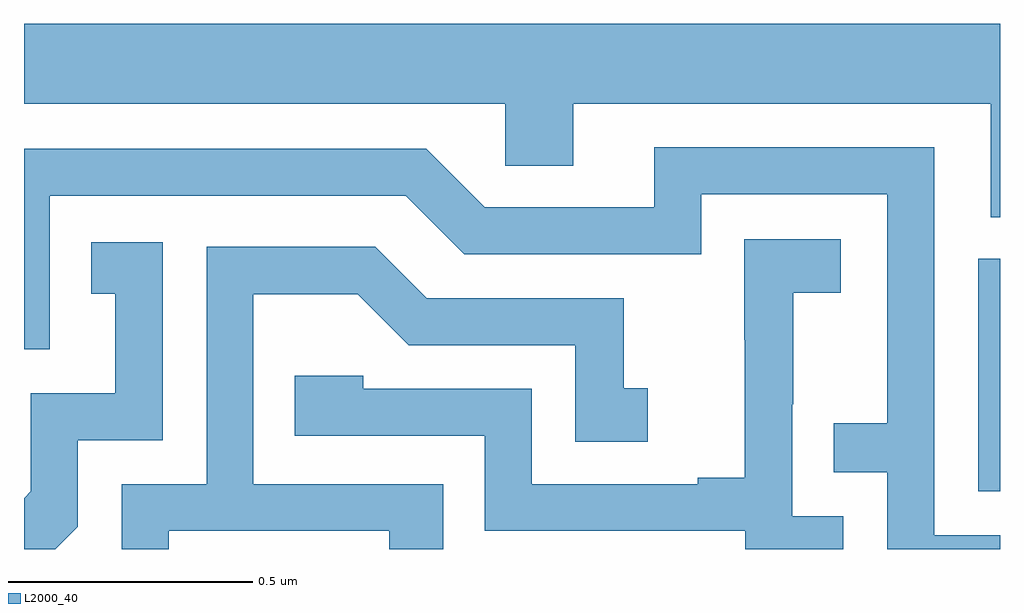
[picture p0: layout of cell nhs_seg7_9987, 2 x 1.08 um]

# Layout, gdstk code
import gdstk
lib = gdstk.Library(unit=1e-6, precision=1e-09)
def R(c, l, rs):  # rectangles x0, y0, x1, y1
    for r in rs: c.add(gdstk.rectangle(r[:2], r[2:], *l))
def P(c, l, *ps):  # polygons
    for p in ps: c.add(gdstk.Polygon(p, *l))
L2000_40 = (2000, 40)

nhs_seg7_9987 = lib.new_cell('nhs_seg7_9987')
R(nhs_seg7_9987, L2000_40, [(245.955,1037.118,246,1037.595)])
P(nhs_seg7_9987, L2000_40, [(244,1037.912),(244.986,1037.912),(244.986,1037.785),(245.125,1037.785),(245.125,1037.912),(245.981,1037.912),(245.981,1037.68),(246,1037.68),(246,1038.076),(244,1038.076)],
  [(246,1037.028),(245.865,1037.028),(245.865,1037.823),(245.291,1037.823),(245.291,1037.7),(244.944,1037.7),(244.824,1037.82),(244,1037.82),(244,1037.409),(244.053,1037.409),(244.053,1037.724),(244.782,1037.724),(244.902,1037.604),(245.388,1037.604),(245.388,1037.727),(245.769,1037.727),(245.769,1037.258),(245.659,1037.258),(245.659,1037.157),(245.769,1037.157),(245.769,1037),(246,1037)],
  [(245.679,1037.067),(245.574,1037.067),(245.574,1037.297),(245.576,1037.297),(245.576,1037.525),(245.674,1037.525),(245.674,1037.635),(245.476,1037.635),(245.476,1037.429),(245.477,1037.429),(245.477,1037.146),(245.381,1037.146),(245.381,1037.133),(245.04,1037.133),(245.04,1037.328),(244.695,1037.328),(244.695,1037.355),(244.555,1037.355),(244.555,1037.232),(244.944,1037.232),(244.944,1037.037),(245.478,1037.037),(245.478,1037),(245.679,1037)],
  [(244.11,1037.046),(244.11,1037.223),(244.284,1037.223),(244.284,1037.629),(244.138,1037.629),(244.138,1037.523),(244.187,1037.523),(244.187,1037.319),(244.014,1037.319),(244.014,1037.118),(244,1037.104),(244,1037),(244.064,1037)],
  [(244.297,1037.037),(244.748,1037.037),(244.748,1037),(244.859,1037),(244.859,1037.133),(244.47,1037.133),(244.47,1037.522),(244.684,1037.522),(244.788,1037.418),(245.13,1037.418),(245.13,1037.22),(245.278,1037.22),(245.278,1037.329),(245.229,1037.329),(245.229,1037.514),(244.825,1037.514),(244.72,1037.619),(244.374,1037.619),(244.374,1037.133),(244.2,1037.133),(244.2,1037),(244.297,1037)])

lib.write_gds('nhs_seg7_9987.gds')
